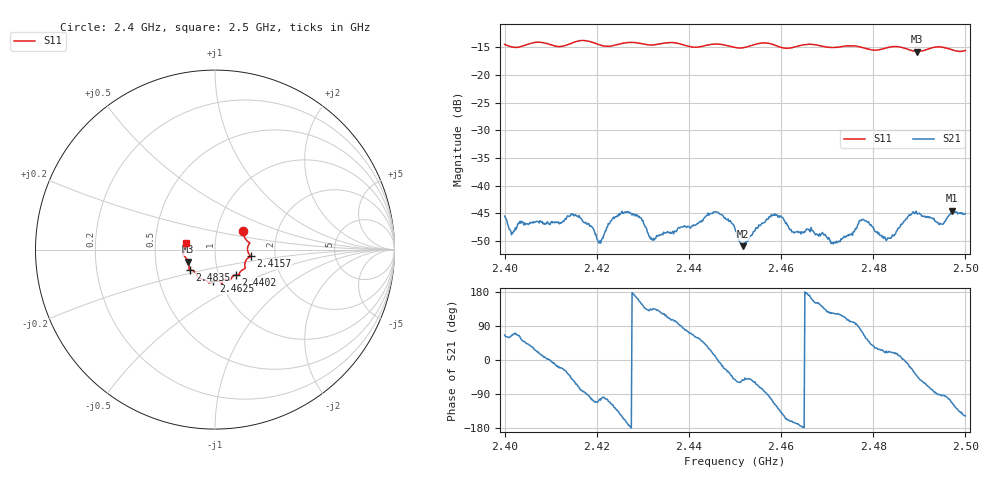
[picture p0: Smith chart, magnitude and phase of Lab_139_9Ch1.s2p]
# Hz S RI R 50
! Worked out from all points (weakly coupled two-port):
!   601 points, 2.4 GHz to 2.5 GHz, reference 50 ohm
!   highest |S21| = -44.53 dB at 2.4972 GHz (marker M1); lowest = -50.9 dB at 2.4517 GHz (marker M2)
!   lowest |S11| = -15.7 dB at 2.4895 GHz (marker M3), VSWR 1.39, Z = 36.8 - j5.14 ohm
!   |S11| at or under -10 dB: start of sweep to end of sweep
!   S12 and S22 are empty: the file has one direction only
!   S11 on the Smith chart (normalised r, x): 2.4 GHz: 1.33, +0.29; 2.4157 GHz: 1.49, -0.11; 2.4402 GHz: 1.20, -0.35; 2.4625 GHz: 0.92, -0.34; 2.4835 GHz: 0.74, -0.17; 2.5 GHz: 0.72, +0.05
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2.4e9  0.1565 0.1061  0.00215 0.00486  0 0  0 0
2.401667e9  0.1596 0.0808  0.00158 0.0034  0 0  0 0
2.415667e9  0.1987 -0.0363  0.00232 -0.00477  0 0  0 0
2.416667e9  0.2015 -0.0398  0.000805 -0.00493  0 0  0 0
2.4205e9  0.1816 -0.0493  -0.000804 -0.00292  0 0  0 0
2.426333e9  0.1686 -0.0998  -0.00552 -0.0017  0 0  0 0
2.433333e9  0.1354 -0.1337  -0.00232 0.0027  0 0  0 0
2.440167e9  0.1143 -0.1403  0.0014 0.00395  0 0  0 0
2.445833e9  0.0854 -0.1706  0.00571 0.000817  0 0  0 0
2.45e9  0.0641 -0.1658  0.00253 -0.00321  0 0  0 0
2.451667e9  0.0484 -0.1695  0.00174 -0.00224  0 0  0 0
2.458333e9  0.0344 -0.1853  -0.00201 -0.00501  0 0  0 0
2.4625e9  -0.00975 -0.1771  -0.00368 -0.00105  0 0  0 0
2.466667e9  -0.0336 -0.1866  -0.00376 0.00135  0 0  0 0
2.471833e9  -0.0664 -0.1649  -0.00157 0.0026  0 0  0 0
2.478e9  -0.0993 -0.1453  0.00208 0.00444  0 0  0 0
2.483333e9  -0.1384 -0.1121  0.0031 0.00126  0 0  0 0
2.4835e9  -0.1394 -0.112  0.00309 0.00127  0 0  0 0
2.4895e9  -0.1485 -0.068  0.0041 -0.00375  0 0  0 0
2.494667e9  -0.178 -0.0228  -0.000197 -0.00452  0 0  0 0
2.497167e9  -0.1689 -0.00496  -0.00235 -0.00545  0 0  0 0
2.5e9  -0.1628 0.036  -0.00473 -0.00302  0 0  0 0
